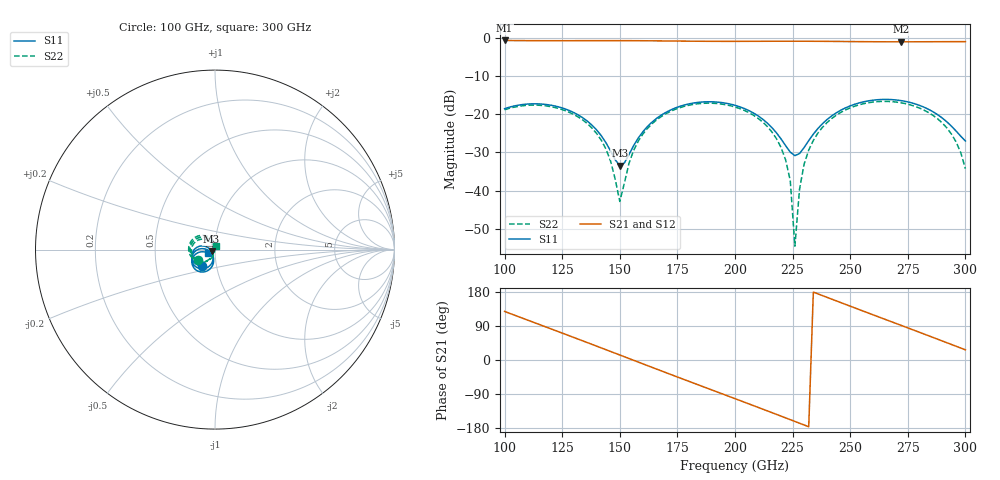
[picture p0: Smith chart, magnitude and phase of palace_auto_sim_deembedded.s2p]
! Created with skrf 1.11.0 (http://scikit-rf.org).
# GHz S DB R 50.0
!freq dBS11 angS11 dBS21 angS21 dBS12 angS12 dBS22 angS22
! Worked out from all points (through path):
!   101 points, 100 GHz to 300 GHz, reference 50 ohm
!   highest |S21| = -0.74 dB at 100 GHz (marker M1); lowest = -1.1 dB at 272 GHz (marker M2)
!   group delay of S21, straight-line fit = 6.41 ps
!   lowest |S11| = -33.5 dB at 150 GHz (marker M3), VSWR 1.04, Z = 48.1 - j0.858 ohm
!   |S11| at or under -10 dB: start of sweep to end of sweep
!   |S22| runs from -54.5 to -16.7 dB; largest |S21 - S12| = 1e-13
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100  -18.56 -129.1  -0.74 128.1  -0.74 128.1  -18.86 -147.9
116  -17.35 -160.1  -0.80 91.6  -0.80 91.6  -17.71 176.0
134  -20.98 168.2  -0.79 50.3  -0.79 50.3  -21.57 136.2
144  -27.47 163.7  -0.78 27.2  -0.78 27.2  -29.13 119.5
150  -33.45 -155.2  -0.78 13.2  -0.78 13.2  -42.83 176.3
156  -28.23 -104.5  -0.80 -0.8  -0.80 -0.8  -29.48 -113.2
168  -20.25 -108.9  -0.85 -28.7  -0.85 -28.7  -20.63 -133.8
184  -16.92 -136.6  -0.94 -65.5  -0.94 -65.5  -17.27 -169.9
200  -17.68 -165.3  -0.97 -102.0  -0.97 -102.0  -18.12 153.0
212  -21.30 177.6  -0.95 -129.6  -0.95 -129.6  -22.06 124.9
220  -26.49 179.2  -0.93 -148.2  -0.93 -148.2  -28.73 106.7
224  -29.94 -162.0  -0.93 -157.5  -0.93 -157.5  -37.45 100.1
226  -30.84 -143.6  -0.93 -162.1  -0.93 -162.1  -54.51 126.2
228  -30.30 -124.1  -0.93 -166.8  -0.93 -166.8  -39.65 -100.2
230  -28.73 -109.9  -0.94 -171.5  -0.94 -171.5  -33.06 -101.9
234  -25.22 -97.9  -0.95 179.2  -0.95 179.2  -26.85 -110.0
248  -18.35 -107.9  -1.01 146.7  -1.01 146.7  -18.89 -142.8
268  -16.19 -141.1  -1.09 100.8  -1.09 100.8  -16.72 169.6
272  -16.45 -147.8  -1.09 91.6  -1.09 91.6  -17.02 160.0
290  -21.03 -170.5  -1.06 50.1  -1.06 50.1  -22.33 115.3
296  -24.43 -167.4  -1.05 36.2  -1.05 36.2  -27.30 98.1
300  -27.02 -153.5  -1.05 26.8  -1.05 26.8  -34.25 80.9
